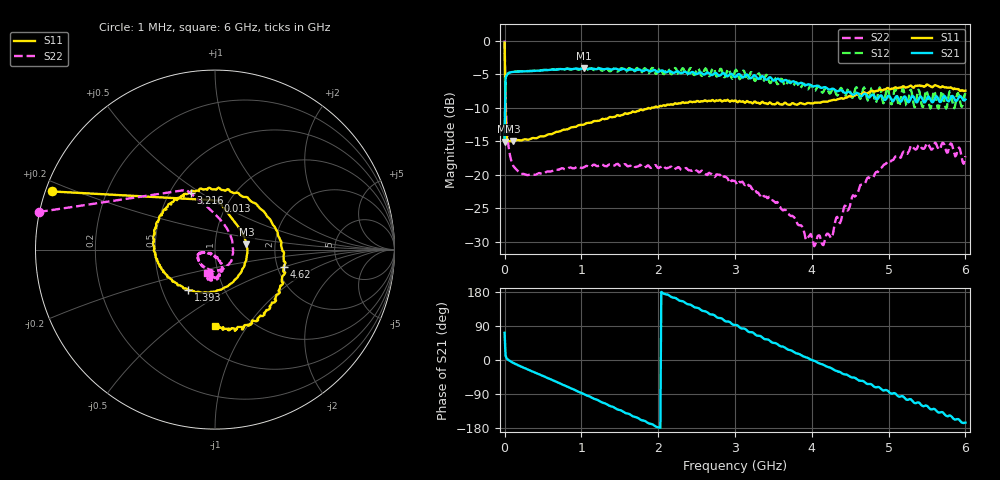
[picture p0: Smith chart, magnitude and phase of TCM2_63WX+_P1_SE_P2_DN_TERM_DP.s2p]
# GHZ S DB R 50.000000000000
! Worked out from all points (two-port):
!   501 points, 1 MHz to 6 GHz, reference 50 ohm
!   highest |S21| = -4.15 dB at 1.033 GHz (marker M1); lowest = -15.1 dB at 1 MHz (marker M2)
!   |S21| within 3 dB of the highest: 10.98 MHz to 4.203 GHz (4.192 GHz wide, 199 % of centre)
!   lowest |S11| = -15.0 dB at 109 MHz (marker M3), VSWR 1.43, Z = 71 + j4.2 ohm
!   |S11| at or under -10 dB: 11.64 MHz to 1.918 GHz (1.907 GHz wide, 198 % of centre); 1.940017 GHz to 1.94633 GHz (6.314 MHz wide, 0.325 % of centre)
!   |S22| runs from -30.7 to 0.0 dB; largest |S21 - S12| = 0.074
!   S11 on the Smith chart (normalised r, x): 1 MHz: 0.02, +0.17; 13 MHz: 0.89, +0.53; 1.393 GHz: 0.68, -0.33; 3.216 GHz: 0.64, +0.46; 4.62 GHz: 2.16, -0.50; 6 GHz: 0.69, -0.72
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0.001  -0.32 160.4  -15.09 71.8  -15.02 74.9  0.02 167.9
0.012998  -11.24 86.3  -5.55 11.9  -5.54 12.1  -8.65 115.7
0.036994  -14.73 47.7  -5.00 2.5  -4.99 2.6  -14.20 89.3
0.108982  -15.04 9.3  -4.68 -7.3  -4.66 -7.2  -18.57 45.1
0.504916  -14.29 -45.6  -4.42 -42.4  -4.36 -42.3  -19.87 -15.5
1.008832  -12.55 -94.0  -4.20 -87.4  -4.11 -87.4  -18.99 -60.9
1.032828  -12.52 -95.7  -4.15 -89.9  -4.16 -90.6  -18.91 -62.4
1.392768  -11.44 -123.5  -4.31 -122.5  -4.44 -120.7  -18.58 -89.7
1.728712  -10.50 -147.9  -4.35 -152.1  -4.08 -152.4  -18.79 -111.3
2.004666  -9.90 -164.7  -4.66 -177.7  -4.41 -173.7  -19.01 -127.8
2.412598  -9.07 168.6  -4.87 146.5  -4.13 148.5  -19.34 -148.0
2.724546  -8.99 147.0  -4.95 119.0  -4.15 115.9  -20.23 -162.9
3.0005  -8.92 129.3  -5.44 92.4  -4.53 94.6  -20.96 -167.2
3.216464  -9.27 112.8  -5.55 73.5  -4.73 69.8  -22.02 -167.2
3.576404  -9.44 84.8  -5.79 38.0  -6.21 40.7  -24.67 -163.0
4.008332  -9.38 43.0  -6.79 -0.8  -6.89 -1.9  -29.65 -133.1
4.26029  -8.92 17.7  -7.19 -22.1  -7.43 -17.6  -29.38 -89.1
4.62023  -8.09 -14.4  -8.11 -54.6  -8.53 -53.7  -21.94 -68.0
5.004166  -7.17 -42.5  -8.21 -84.3  -7.89 -90.9  -18.07 -71.2
5.508082  -6.57 -71.3  -8.42 -122.2  -8.03 -132.9  -15.31 -91.1
5.748042  -6.97 -80.7  -8.59 -147.1  -10.14 -146.5  -16.41 -95.5
6  -7.47 -90.2  -8.78 -165.3  -7.81 -166.8  -17.24 -108.6
